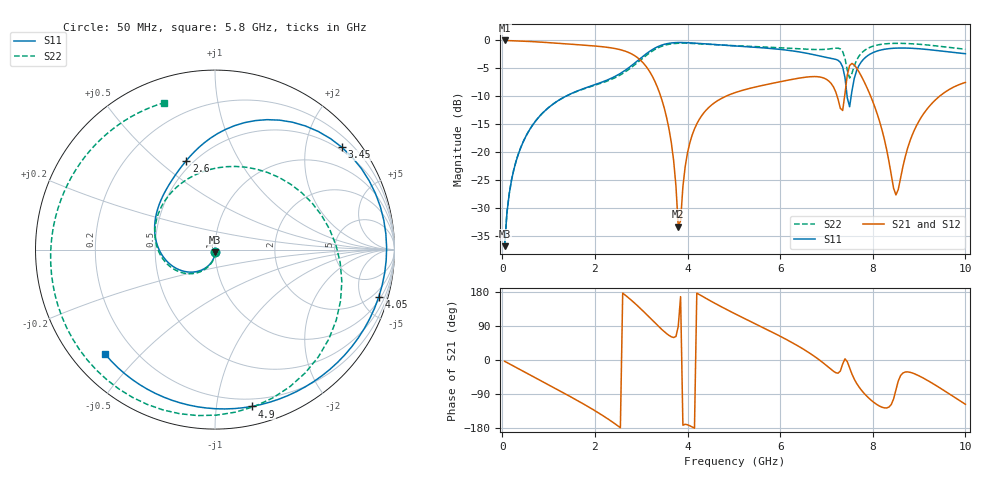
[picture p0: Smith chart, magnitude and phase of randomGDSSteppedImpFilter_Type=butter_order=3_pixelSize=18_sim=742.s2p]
! freq	dB(S11)	phase(S11)	dB(S12)	phase(S12)
!  dB(S21)	phase(S21)	dB(S22)	phase(S22)
!S-par simulation data
#  GHz  S  DB  R 50
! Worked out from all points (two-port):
!   200 points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, 50 MHz to 10 GHz, reference 50 ohm
!   highest |S21| = -0.02 dB at 50 MHz (marker M1); lowest = -33.3 dB at 3.8 GHz (marker M2)
!   |S21| within 3 dB of the highest: start of sweep to 2.906 GHz
!   lowest |S11| = -36.9 dB at 50 MHz (marker M3), VSWR 1.03, Z = 50.1 - j1.44 ohm
!   |S11| at or under -10 dB: start of sweep to 1.373 GHz; 7.446 GHz to 7.534 GHz (87.86 MHz wide, 1.17 % of centre)
!   |S22| runs from -36.8 to -0.5 dB; largest |S21 - S12| = 0
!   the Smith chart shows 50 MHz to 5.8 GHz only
!   S11 on the Smith chart (normalised r, x): 50 MHz: 1.00, -0.03; 2.6 GHz: 0.46, +0.62; 3.45 GHz: 0.43, +2.78; 4.05 GHz: 1.28, -6.86; 4.9 GHz: 0.14, -1.25; 5.8 GHz: 0.10, -0.40
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0.05  -36.86 -86.4  -0.02 -3.4  -0.02 -3.4  -36.84 -86.1
0.5  -17.34 -123.2  -0.16 -32.9  -0.16 -32.9  -17.32 -120.4
1.75  -8.66 154.9  -0.85 -115.8  -0.85 -115.8  -8.72 152.8
2.6  -5.66 107.8  -1.79 176.5  -1.79 176.5  -5.94 62.6
3.05  -2.78 77.0  -4.11 128.0  -4.11 128.0  -3.08 -6.0
3.4  -0.99 43.8  -9.51 85.7  -9.51 85.7  -1.21 -61.4
3.45  -0.84 38.8  -10.77 80.0  -10.77 80.0  -1.04 -68.7
3.8  -0.39 5.3  -33.34 89.0  -33.34 89.0  -0.52 -113.7
4.05  -0.45 -16.0  -18.34 -173.5  -18.34 -173.5  -0.53 -139.1
4.9  -0.94 -76.7  -9.75 129.7  -9.75 129.7  -0.92 159.0
5.05  -1.02 -86.5  -9.30 120.4  -9.30 120.4  -0.97 150.1
5.8  -1.46 -136.3  -7.75 75.1  -7.75 75.1  -1.25 109.3
6.7  -2.52 141.3  -6.49 13.0  -6.49 13.0  -1.63 65.4
7.05  -3.14 83.9  -7.28 -19.6  -7.28 -19.6  -1.55 48.8
7.3  -3.94 18.1  -12.18 -29.1  -12.18 -29.1  -1.54 29.1
7.6  -6.83 -3.4  -4.40 -50.3  -4.40 -50.3  -4.58 44.6
7.95  -2.43 -78.1  -9.92 -104.5  -9.92 -104.5  -1.21 25.4
8.35  -1.49 -137.9  -21.72 -124.2  -21.72 -124.2  -0.58 2.4
8.5  -1.40 -156.8  -27.68 -78.9  -27.68 -78.9  -0.54 -5.3
8.8  -1.41 167.4  -18.09 -32.3  -18.09 -32.3  -0.59 -19.6
9.3  -1.75 106.8  -11.10 -62.4  -11.10 -62.4  -0.93 -40.7
10  -2.39 14.5  -7.54 -116.9  -7.54 -116.9  -1.60 -64.6
